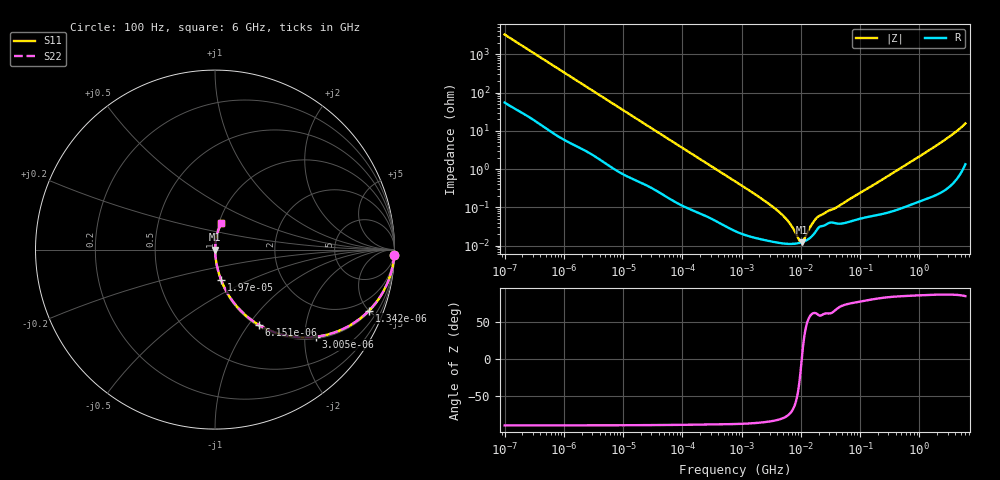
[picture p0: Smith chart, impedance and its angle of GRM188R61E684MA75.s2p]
!Murata Part Number: GRM188R61E684MA75
!These Parameters are Measured in Series Mode Connection
!Data Generated on Mar 30, 2021
!  o--ll--o
!Port1  Port2
!  o------o
!Operation Temp=25[degC], DC Bias Voltage=0[V]
!Freq. Start=100[Hz] Stop=6[GHz] 401[Steps]
# Hz S RI R 50
!Freq.(Hz) S11(Real) S11(Imag) S21(Real) S21(Imag) S12(Real) S12(Imag) S22(Real) S22(Imag)
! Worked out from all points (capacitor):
!   401 points, 100 Hz to 6 GHz, reference 50 ohm
!   read as one part in series: C = 484 nF near 109 Hz
!   lowest |Z| = 12.3 mohm at 10.4 MHz (marker M1)
!   series resonance near 10.36 MHz, so ESL is about 490 pH
!   S11 on the Smith chart (normalised r, x): 100 Hz: 2, -65; 1.342 kHz: 1.09, -5.02; 3.005 kHz: 1.05, -2.27; 6.151 kHz: 1.02, -1.12; 19.7 kHz: 1.01, -0.35; 6 GHz: 1.03, +0.31
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100  0.9986 -0.0305  0.00144 0.0305  0.00144 0.0305  0.9986 -0.0305
419  0.9823 -0.1233  0.0177 0.1233  0.0177 0.1233  0.9823 -0.1233
1342  0.8584 -0.3396  0.1416 0.3396  0.1416 0.3396  0.8584 -0.3396
2008  0.7354 -0.4312  0.2646 0.4312  0.2646 0.4312  0.7354 -0.4312
3005  0.5608 -0.4859  0.4392 0.4859  0.4392 0.4859  0.5608 -0.4859
6151  0.2425 -0.4185  0.7575 0.4185  0.7575 0.4185  0.2425 -0.4185
10527  0.1024 -0.2927  0.8976 0.2927  0.8976 0.2927  0.1024 -0.2927
19704  0.0344 -0.17  0.9656 0.17  0.9656 0.17  0.0344 -0.17
40335  0.01 -0.0865  0.99 0.0865  0.99 0.0865  0.01 -0.0865
774597  0.000264 -0.00482  0.9997 0.00482  0.9997 0.00482  0.000264 -0.00482
2481164  0.000142 -0.00146  0.9999 0.00146  0.9999 0.00146  0.000142 -0.00146
4440638  0.000118 -0.000718  0.9999 0.000718  0.9999 0.000718  0.000118 -0.000718
6353432  0.000111 -0.000388  0.9999 0.000388  0.9999 0.000388  0.000111 -0.000388
9506416  0.000118 -6.64e-05  0.9999 6.64e-05  0.9999 6.64e-05  0.000118 -6.64e-05
1.039699e7  0.000123 2.8e-06  0.9999 -2.8e-06  0.9999 -2.8e-06  0.000123 2.8e-06
1.137099e7  0.000129 7.24e-05  0.9999 -7.24e-05  0.9999 -7.24e-05  0.000129 7.24e-05
1.555665e7  0.000179 0.000328  0.9998 -0.000328  0.9998 -0.000328  0.000179 0.000328
2.035112e7  0.000305 0.000512  0.9997 -0.000512  0.9997 -0.000512  0.000305 0.000512
4.165952e7  0.000378 0.000962  0.9996 -0.000962  0.9996 -0.000962  0.000378 0.000962
3.124326e8  0.000794 0.00688  0.9992 -0.00688  0.9992 -0.00688  0.000794 0.00688
2.142435e9  0.00433 0.0453  0.9957 -0.0453  0.9957 -0.0453  0.00433 0.0453
6e9  0.0357 0.1474  0.9643 -0.1474  0.9643 -0.1474  0.0357 0.1474
